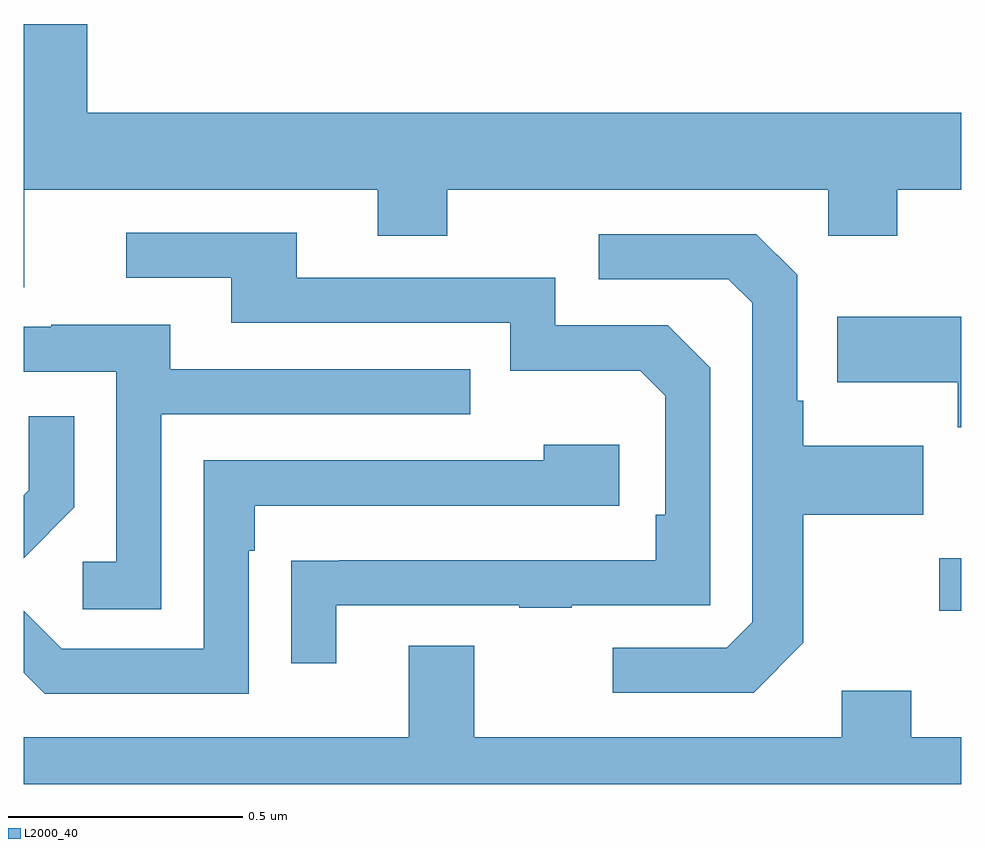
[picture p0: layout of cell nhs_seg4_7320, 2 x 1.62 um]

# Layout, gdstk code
import gdstk
lib = gdstk.Library(unit=1e-6, precision=1e-09)
def R(c, l, rs):  # rectangles x0, y0, x1, y1
    for r in rs: c.add(gdstk.rectangle(r[:2], r[2:], *l))
def P(c, l, *ps):  # polygons
    for p in ps: c.add(gdstk.Polygon(p, *l))
L2000_40 = (2000, 40)

nhs_seg4_7320 = lib.new_cell('nhs_seg4_7320')
R(nhs_seg4_7320, L2000_40, [(202.953,781.269,203,781.382)])
P(nhs_seg4_7320, L2000_40, [(201.001,782.168),(201.755,782.168),(201.755,782.069),(201.903,782.069),(201.903,782.168),(202.716,782.168),(202.716,782.069),(202.863,782.069),(202.863,782.168),(203,782.168),(203,782.332),(201.136,782.332),(201.136,782.521),(201,782.521),(201,781.96),(201.001,781.96)],
  [(201.667,781.281),(202.057,781.281),(202.057,781.276),(202.169,781.276),(202.169,781.281),(202.464,781.281),(202.464,781.788),(202.374,781.878),(202.134,781.878),(202.134,781.98),(201.583,781.98),(201.583,782.076),(201.219,782.076),(201.219,781.98),(201.443,781.98),(201.443,781.884),(202.038,781.884),(202.038,781.781),(202.315,781.781),(202.368,781.728),(202.368,781.474),(202.348,781.474),(202.348,781.377),(201.673,781.377),(201.673,781.376),(201.571,781.376),(201.571,781.158),(201.667,781.158)],
  [(202.663,781.201),(202.663,781.474),(202.919,781.474),(202.919,781.621),(202.663,781.621),(202.663,781.717),(202.65,781.717),(202.65,781.986),(202.563,782.073),(202.227,782.073),(202.227,781.977),(202.503,781.977),(202.554,781.926),(202.554,781.245),(202.5,781.191),(202.257,781.191),(202.257,781.095),(202.557,781.095)],
  [(203,781.897),(202.735,781.897),(202.735,781.757),(202.992,781.757),(202.992,781.661),(203,781.661)],
  [(201.294,781.689),(201.953,781.689),(201.953,781.785),(201.313,781.785),(201.313,781.879),(201.059,781.879),(201.059,781.875),(201,781.875),(201,781.779),(201.198,781.779),(201.198,781.374),(201.126,781.374),(201.126,781.273),(201.294,781.273)],
  [(201.108,781.49),(201.108,781.684),(201.011,781.684),(201.011,781.527),(201,781.516),(201,781.382)],
  [(201.48,781.397),(201.493,781.397),(201.493,781.494),(202.27,781.494),(202.27,781.624),(202.109,781.624),(202.109,781.59),(201.384,781.59),(201.384,781.188),(201.081,781.188),(201,781.269),(201,781.137),(201.045,781.092),(201.48,781.092)],
  [(203,781),(202.893,781),(202.893,781.099),(202.745,781.099),(202.745,781),(201.961,781),(201.961,781.195),(201.821,781.195),(201.821,781),(201,781),(201,780.9),(203,780.9)])

lib.write_gds('nhs_seg4_7320.gds')
